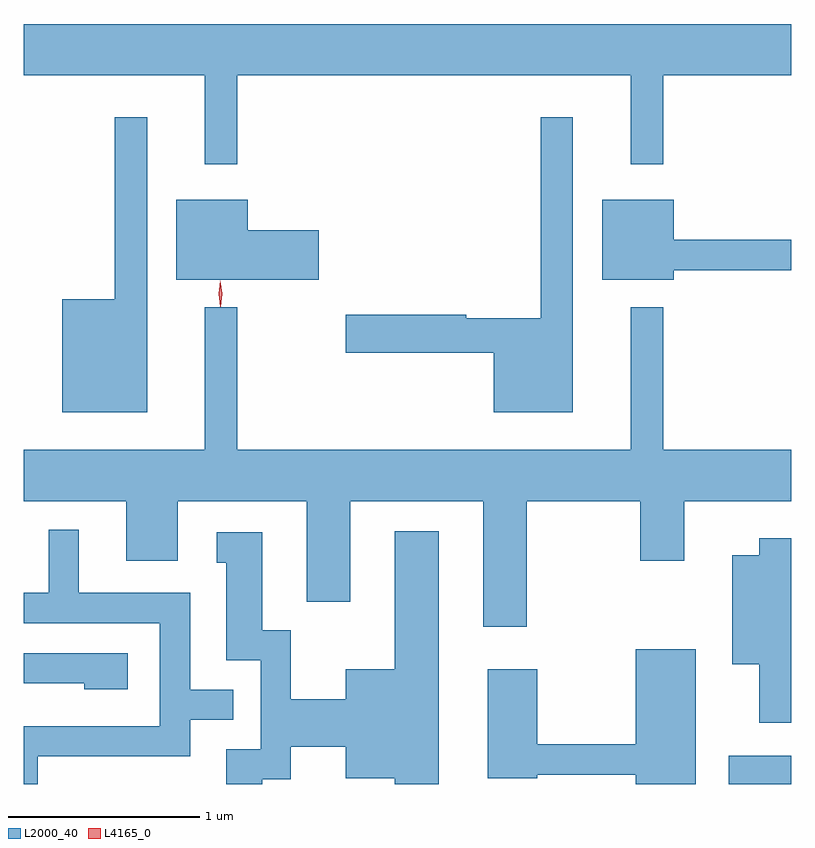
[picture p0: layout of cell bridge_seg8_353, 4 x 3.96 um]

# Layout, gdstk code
import gdstk
lib = gdstk.Library(unit=1e-6, precision=1e-09)
def R(c, l, rs):  # rectangles x0, y0, x1, y1
    for r in rs: c.add(gdstk.rectangle(r[:2], r[2:], *l))
def P(c, l, *ps):  # polygons
    for p in ps: c.add(gdstk.Polygon(p, *l))
L2000_40 = (2000, 40)
L4165_0 = (4165, 0)

bridge_seg8_353 = lib.new_cell('bridge_seg8_353')
R(bridge_seg8_353, L2000_40, [(765.601,1921.522,765.927,1921.669)])
P(bridge_seg8_353, L2000_40, [(763.039,1925.216),(765.091,1925.216),(765.091,1924.753),(765.259,1924.753),(765.259,1925.216),(765.927,1925.216),(765.927,1925.484),(761.927,1925.484),(761.927,1925.216),(762.871,1925.216),(762.871,1924.753),(763.039,1924.753)],
  [(762.569,1924.998),(762.401,1924.998),(762.401,1924.049),(762.126,1924.049),(762.126,1923.461),(762.569,1923.461)],
  [(764.789,1924.998),(764.621,1924.998),(764.621,1923.949),(764.234,1923.949),(764.234,1923.969),(763.606,1923.969),(763.606,1923.771),(764.376,1923.771),(764.376,1923.461),(764.789,1923.461)],
  [(763.464,1924.409),(763.094,1924.409),(763.094,1924.569),(762.721,1924.569),(762.721,1924.151),(763.464,1924.151)],
  [(765.314,1924.201),(765.927,1924.201),(765.927,1924.359),(765.314,1924.359),(765.314,1924.569),(764.941,1924.569),(764.941,1924.151),(765.314,1924.151)],
  [(764.549,1922.996),(765.141,1922.996),(765.141,1922.686),(765.369,1922.686),(765.369,1922.996),(765.927,1922.996),(765.927,1923.264),(765.259,1923.264),(765.259,1924.008),(765.091,1924.008),(765.091,1923.264),(763.039,1923.264),(763.039,1924.008),(762.871,1924.008),(762.871,1923.264),(761.927,1923.264),(761.927,1922.996),(762.461,1922.996),(762.461,1922.686),(762.729,1922.686),(762.729,1922.996),(763.401,1922.996),(763.401,1922.471),(763.629,1922.471),(763.629,1922.996),(764.321,1922.996),(764.321,1922.341),(764.549,1922.341)],
  [(761.999,1921.666),(762.794,1921.666),(762.794,1921.856),(763.018,1921.856),(763.018,1922.014),(762.794,1922.014),(762.794,1922.519),(762.214,1922.519),(762.214,1922.848),(762.056,1922.848),(762.056,1922.519),(761.927,1922.519),(761.927,1922.361),(762.636,1922.361),(762.636,1921.824),(761.927,1921.824),(761.927,1921.522),(761.999,1921.522)],
  [(763.169,1921.546),(763.319,1921.546),(763.319,1921.716),(763.606,1921.716),(763.606,1921.551),(763.861,1921.551),(763.861,1921.522),(764.089,1921.522),(764.089,1922.839),(763.861,1922.839),(763.861,1922.119),(763.606,1922.119),(763.606,1921.964),(763.319,1921.964),(763.319,1922.324),(763.169,1922.324),(763.169,1922.834),(762.933,1922.834),(762.933,1922.676),(762.981,1922.676),(762.981,1922.166),(763.161,1922.166),(763.161,1921.704),(762.981,1921.704),(762.981,1921.522),(763.169,1921.522)],
  [(765.927,1922.804),(765.761,1922.804),(765.761,1922.714),(765.621,1922.714),(765.621,1922.146),(765.761,1922.146),(765.761,1921.841),(765.927,1921.841)],
  [(765.429,1922.224),(765.116,1922.224),(765.116,1921.729),(764.604,1921.729),(764.604,1922.119),(764.346,1922.119),(764.346,1921.551),(764.604,1921.551),(764.604,1921.571),(765.116,1921.571),(765.116,1921.522),(765.429,1921.522)],
  [(762.469,1922.204),(761.927,1922.204),(761.927,1922.046),(762.241,1922.046),(762.241,1922.016),(762.469,1922.016)])
P(bridge_seg8_353, L4165_0, [(762.952,1924.013),(762.952,1924.013),(762.942,1924.076),(762.951,1924.139),(762.952,1924.14),(762.952,1924.139),(762.962,1924.076),(762.953,1924.013)],
  [(762.952,1924.01),(762.952,1924.01),(762.942,1924.078),(762.951,1924.145),(762.952,1924.146),(762.952,1924.145),(762.962,1924.078),(762.953,1924.01)])

lib.write_gds('bridge_seg8_353.gds')
